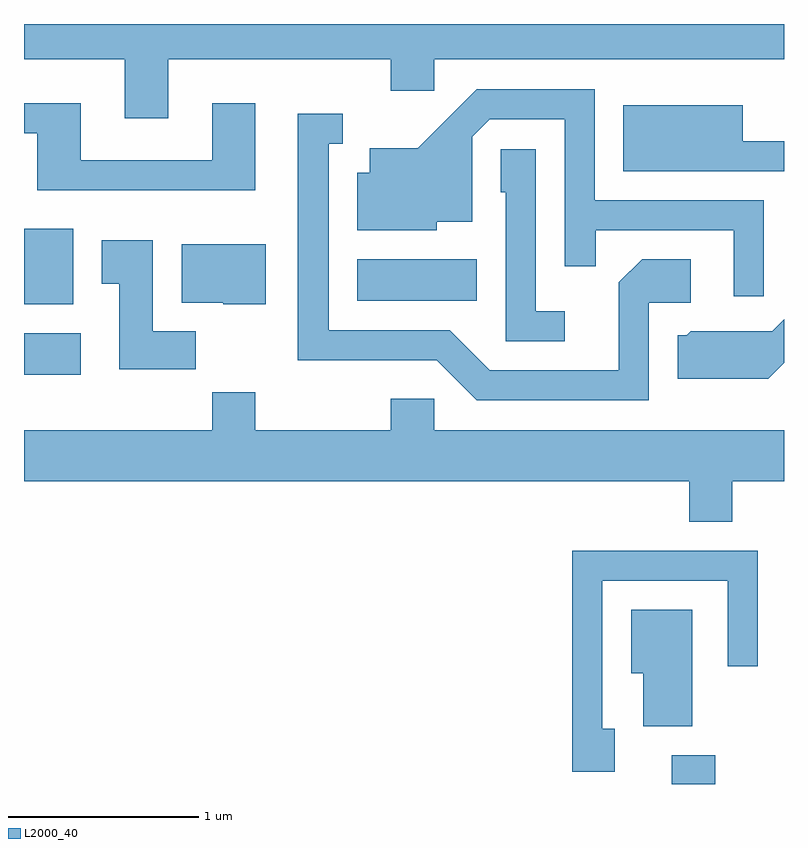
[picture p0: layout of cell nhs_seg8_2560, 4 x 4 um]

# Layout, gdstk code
import gdstk
lib = gdstk.Library(unit=1e-6, precision=1e-09)
def R(c, l, rs):  # rectangles x0, y0, x1, y1
    for r in rs: c.add(gdstk.rectangle(r[:2], r[2:], *l))
def P(c, l, *ps):  # polygons
    for p in ps: c.add(gdstk.Polygon(p, *l))
L2000_40 = (2000, 40)

nhs_seg8_2560 = lib.new_cell('nhs_seg8_2560')
R(nhs_seg8_2560, L2000_40, [(265.021,1870.342,265.249,1870.494), (261.611,1872.496,261.909,1872.714), (261.611,1872.866,261.869,1873.264), (263.366,1872.886,263.994,1873.104)])
P(nhs_seg8_2560, L2000_40, [(262.369,1874.156),(263.541,1874.156),(263.541,1873.991),(263.769,1873.991),(263.769,1874.156),(265.611,1874.156),(265.611,1874.342),(261.611,1874.342),(261.611,1874.156),(262.141,1874.156),(262.141,1873.846),(262.369,1873.846)],
  [(265.504,1873.414),(264.614,1873.414),(264.614,1873.999),(263.994,1873.999),(263.684,1873.689),(263.431,1873.689),(263.431,1873.559),(263.366,1873.559),(263.366,1873.256),(263.784,1873.256),(263.784,1873.301),(263.969,1873.301),(263.969,1873.749),(264.062,1873.841),(264.456,1873.841),(264.456,1873.068),(264.619,1873.068),(264.619,1873.256),(265.346,1873.256),(265.346,1872.908),(265.504,1872.908)],
  [(262.829,1873.924),(262.601,1873.924),(262.601,1873.624),(261.909,1873.624),(261.909,1873.924),(261.611,1873.924),(261.611,1873.766),(261.681,1873.766),(261.681,1873.466),(262.829,1873.466)],
  [(265.611,1873.724),(265.394,1873.724),(265.394,1873.914),(264.766,1873.914),(264.766,1873.566),(265.611,1873.566)],
  [(264.899,1872.876),(265.119,1872.876),(265.119,1873.104),(264.864,1873.104),(264.741,1872.982),(264.741,1872.519),(264.062,1872.519),(263.852,1872.729),(263.214,1872.729),(263.214,1873.711),(263.288,1873.711),(263.288,1873.869),(263.051,1873.869),(263.051,1872.571),(263.784,1872.571),(263.994,1872.361),(264.899,1872.361)],
  [(264.458,1872.829),(264.304,1872.829),(264.304,1873.684),(264.121,1873.684),(264.121,1873.456),(264.146,1873.456),(264.146,1872.671),(264.458,1872.671)],
  [(262.514,1872.724),(262.289,1872.724),(262.289,1873.204),(262.021,1873.204),(262.021,1872.976),(262.111,1872.976),(262.111,1872.526),(262.514,1872.526)],
  [(262.884,1873.184),(262.441,1873.184),(262.441,1872.876),(262.66,1872.876),(262.66,1872.866),(262.884,1872.866)],
  [(265.611,1872.56),(265.611,1872.787),(265.549,1872.724),(265.119,1872.724),(265.099,1872.704),(265.051,1872.704),(265.051,1872.476),(265.527,1872.476)],
  [(265.339,1871.936),(265.611,1871.936),(265.611,1872.204),(263.769,1872.204),(263.769,1872.369),(263.541,1872.369),(263.541,1872.204),(262.829,1872.204),(262.829,1872.404),(262.601,1872.404),(262.601,1872.204),(261.611,1872.204),(261.611,1871.936),(265.111,1871.936),(265.111,1871.721),(265.339,1871.721)],
  [(264.719,1870.634),(264.654,1870.634),(264.654,1871.411),(265.316,1871.411),(265.316,1870.963),(265.474,1870.963),(265.474,1871.569),(264.496,1871.569),(264.496,1870.406),(264.719,1870.406)],
  [(265.129,1871.259),(264.806,1871.259),(264.806,1870.926),(264.871,1870.926),(264.871,1870.646),(265.129,1870.646)])

lib.write_gds('nhs_seg8_2560.gds')
